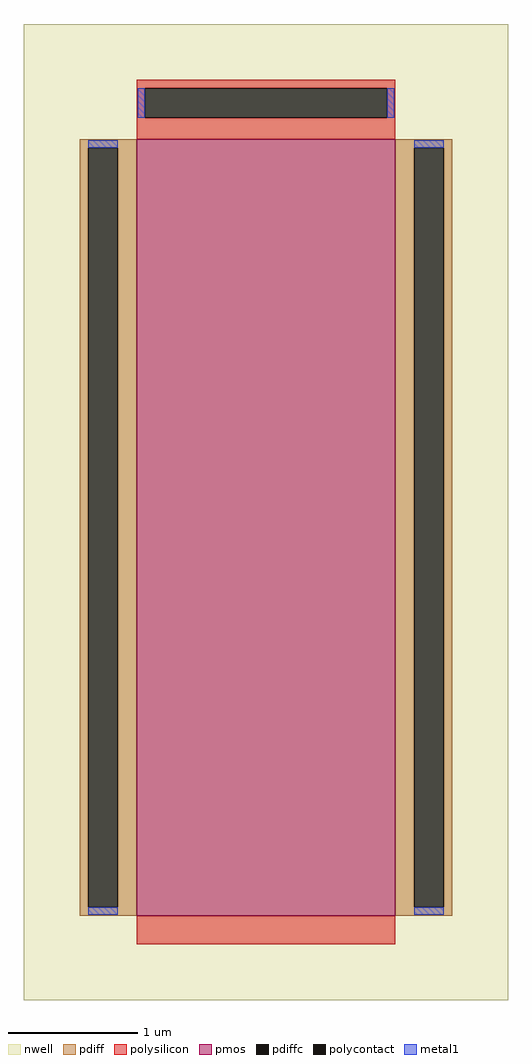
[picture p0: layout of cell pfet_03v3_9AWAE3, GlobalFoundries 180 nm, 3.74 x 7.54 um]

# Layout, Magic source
magic
tech gf180mcuD
magscale 1 10
<< nwell >>
rect -374 -754 374 754
<< pmos >>
rect -200 -624 200 576
<< pdiff >>
rect -288 563 -200 576
rect -288 -611 -275 563
rect -229 -611 -200 563
rect -288 -624 -200 -611
rect 200 563 288 576
rect 200 -611 229 563
rect 275 -611 288 563
rect 200 -624 288 -611
<< pdiffc >>
rect -275 -611 -229 563
rect 229 -611 275 563
<< polysilicon >>
rect -200 655 200 668
rect -200 609 -187 655
rect 187 609 200 655
rect -200 576 200 609
rect -200 -668 200 -624
<< polycontact >>
rect -187 609 187 655
<< metal1 >>
rect -198 609 -187 655
rect 187 609 198 655
rect -275 563 -229 574
rect -275 -622 -229 -611
rect 229 563 275 574
rect 229 -622 275 -611
<< properties >>
string gencell pfet_03v3
string library gf180mcu
string parameters w 6 l 2 m 1 nf 1 diffcov 100 polycov 100 guard 0 glc 0 grc 0 gtc 0 gbc 0 tbcov 100 rlcov 100 topc 1 botc 0 poverlap 0 doverlap 1 lmin 0.28 wmin 0.22 class mosfet full_metal 0 compatible {pfet_03v3 pfet_05v0 pfet_06v0}
<< end >>
